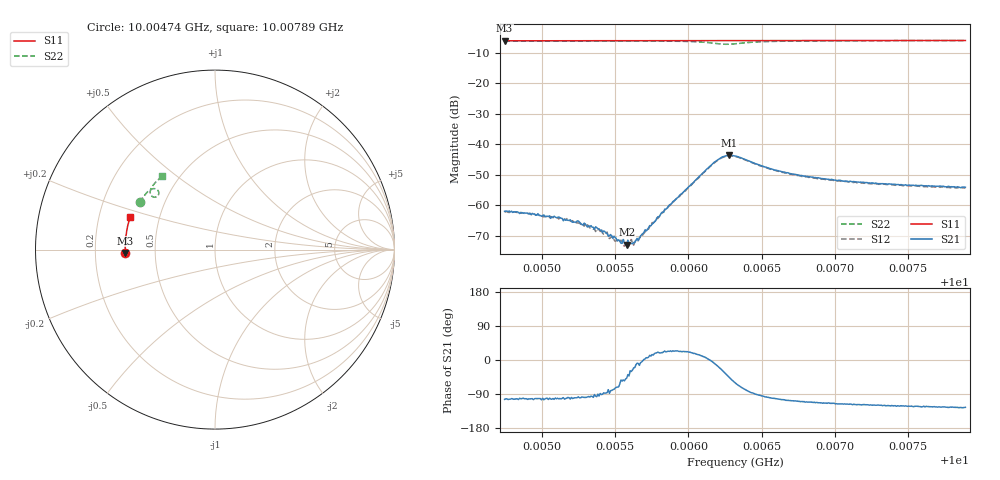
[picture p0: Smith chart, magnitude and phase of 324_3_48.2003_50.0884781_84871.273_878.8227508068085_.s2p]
#  HZ  S  RI  R  50.00
! Rohde & Schwarz Vector Network Analyzer
! Rohde-Schwarz,ZNB20-2Port,1311601062101988,3.16
! Created: UTC 3/20/2024, 11:50:37 AM
! freq[Hz]  re:S11  im:S11  re:S21  im:S21  re:S12  im:S12  re:S22  im:S22
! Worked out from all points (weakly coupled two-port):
!   401 points, 10.00474 GHz to 10.00789 GHz, reference 50 ohm
!   highest |S21| = -43.63 dB at 10.00628 GHz (marker M1); lowest = -73.0 dB at 10.00558 GHz (marker M2)
!   lowest |S11| = -6.0 dB at 10.00474 GHz (marker M3), VSWR 2.99, Z = 16.7 - j0.832 ohm
!   |S11| at or under -10 dB: nowhere
!   |S22| runs from -7.2 to -6.0 dB; largest |S21 - S12| = 0.00038
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1.0004745e10  -0.4987 -0.0187  -0.00019 -0.000771  -0.000123 -0.000753  -0.4179 0.2628
1.0004831e10  -0.499 -0.0131  -0.000165 -0.000757  -0.000123 -0.000742  -0.4148 0.268
1.0005099e10  -0.4998 0.00444  -0.000134 -0.000609  -0.000111 -0.000609  -0.4053 0.2839
1.000517e10  -0.4999 0.00893  -0.000106 -0.000564  -9.41e-05 -0.000593  -0.4026 0.288
1.0005272e10  -0.4999 0.0155  -6.38e-05 -0.000477  -6.43e-05 -0.000478  -0.3984 0.294
1.0005351e10  -0.5 0.0206  -6.53e-05 -0.000428  -2.1e-05 -0.000403  -0.395 0.299
1.000539e10  -0.4999 0.0233  -3.6e-05 -0.000396  3.26e-06 -0.000409  -0.3932 0.3012
1.00055e10  -0.4997 0.0305  8.02e-05 -0.000283  7.18e-05 -0.000244  -0.3881 0.308
1.0005532e10  -0.4996 0.0325  0.000117 -0.000228  0.000114 -0.00023  -0.3866 0.3099
1.0005579e10  -0.4995 0.0353  0.000151 -0.000166  0.00016 -0.000144  -0.3842 0.3128
1.0005618e10  -0.4995 0.0379  0.000208 -0.000103  0.000209 -0.000114  -0.3819 0.3153
1.000565e10  -0.4993 0.0402  0.000281 -4.35e-05  0.000263 -2.61e-05  -0.3802 0.3173
1.0005674e10  -0.4993 0.0416  0.000309 -3.8e-05  0.000296 -1.62e-05  -0.3789 0.3188
1.0005799e10  -0.4988 0.0497  0.000602 0.000213  0.000601 0.000241  -0.3704 0.3269
1.0006169e10  -0.4962 0.0735  0.00483 -0.000518  0.00472 -0.0003  -0.3174 0.3286
1.0006232e10  -0.4955 0.0775  0.00548 -0.00285  0.00546 -0.00255  -0.3141 0.3082
1.000628e10  -0.495 0.0803  0.00458 -0.00472  0.00469 -0.00436  -0.3246 0.2947
1.0006319e10  -0.4952 0.0827  0.0032 -0.00554  0.00343 -0.00528  -0.3375 0.2917
1.0006586e10  -0.4927 0.0997  -0.000735 -0.00371  -0.000622 -0.00369  -0.3598 0.3305
1.0006846e10  -0.4897 0.1163  -0.00105 -0.0027  -0.000874 -0.00267  -0.3486 0.3533
1.0007374e10  -0.482 0.1492  -0.00114 -0.00192  -0.00101 -0.0019  -0.3225 0.3835
1.0007893e10  -0.4718 0.1813  -0.00113 -0.00161  -0.00104 -0.0016  -0.2963 0.4074
